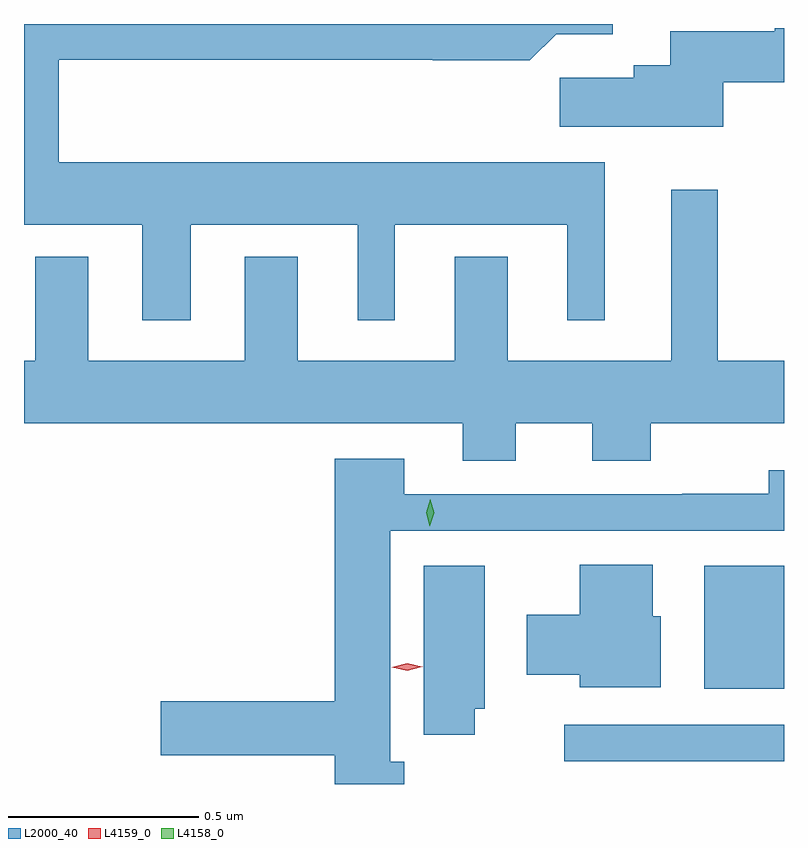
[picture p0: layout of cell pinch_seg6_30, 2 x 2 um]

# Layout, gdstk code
import gdstk
lib = gdstk.Library(unit=1e-6, precision=1e-09)
def R(c, l, rs):  # rectangles x0, y0, x1, y1
    for r in rs: c.add(gdstk.rectangle(r[:2], r[2:], *l))
def P(c, l, *ps):  # polygons
    for p in ps: c.add(gdstk.Polygon(p, *l))
L2000_40 = (2000, 40)
L4158_0 = (4158, 0)
L4159_0 = (4159, 0)

pinch_seg6_30 = lib.new_cell('pinch_seg6_30')
R(pinch_seg6_30, L2000_40, [(974.034,961.098,974.612,961.194), (974.402,961.289,974.612,961.612)])
P(pinch_seg6_30, L2000_40, [(973.051,962.51),(973.49,962.51),(973.49,962.259),(973.588,962.259),(973.588,962.51),(974.042,962.51),(974.042,962.259),(974.14,962.259),(974.14,962.674),(972.703,962.674),(972.703,962.944),(973.687,962.944),(973.687,962.942),(973.943,962.942),(974.012,963.011),(974.161,963.011),(974.161,963.038),(972.612,963.038),(972.612,962.51),(972.923,962.51),(972.923,962.259),(973.051,962.259)],
  [(974.452,962.885),(974.612,962.885),(974.612,963.027),(974.588,963.027),(974.588,963.019),(974.312,963.019),(974.312,962.929),(974.216,962.929),(974.216,962.897),(974.022,962.897),(974.022,962.768),(974.452,962.768)],
  [(973.766,961.889),(973.906,961.889),(973.906,961.988),(974.108,961.988),(974.108,961.889),(974.261,961.889),(974.261,961.988),(974.612,961.988),(974.612,962.152),(974.437,962.152),(974.437,962.602),(974.315,962.602),(974.315,962.152),(973.885,962.152),(973.885,962.425),(973.745,962.425),(973.745,962.152),(973.333,962.152),(973.333,962.425),(973.193,962.425),(973.193,962.152),(972.781,962.152),(972.781,962.425),(972.641,962.425),(972.641,962.152),(972.612,962.152),(972.612,961.988),(973.766,961.988)],
  [(973.612,961.096),(973.576,961.096),(973.576,961.704),(974.612,961.704),(974.612,961.864),(974.572,961.864),(974.572,961.802),(974.344,961.802),(974.344,961.8),(973.612,961.8),(973.612,961.894),(973.43,961.894),(973.43,961.256),(972.972,961.256),(972.972,961.114),(973.43,961.114),(973.43,961.038),(973.612,961.038)],
  [(974.287,961.479),(974.266,961.479),(974.266,961.615),(974.075,961.615),(974.075,961.483),(973.935,961.483),(973.935,961.325),(974.075,961.325),(974.075,961.292),(974.287,961.292)],
  [(973.798,961.236),(973.825,961.236),(973.825,961.612),(973.664,961.612),(973.664,961.167),(973.798,961.167)])
P(pinch_seg6_30, L4158_0, [(973.68,961.716),(973.68,961.716),(973.671,961.752),(973.681,961.788),(973.681,961.788),(973.681,961.788),(973.691,961.752),(973.68,961.716)])
P(pinch_seg6_30, L4159_0, [(973.62,961.336),(973.58,961.345),(973.579,961.345),(973.58,961.345),(973.62,961.356),(973.66,961.347),(973.661,961.346),(973.66,961.346)])

lib.write_gds('pinch_seg6_30.gds')
